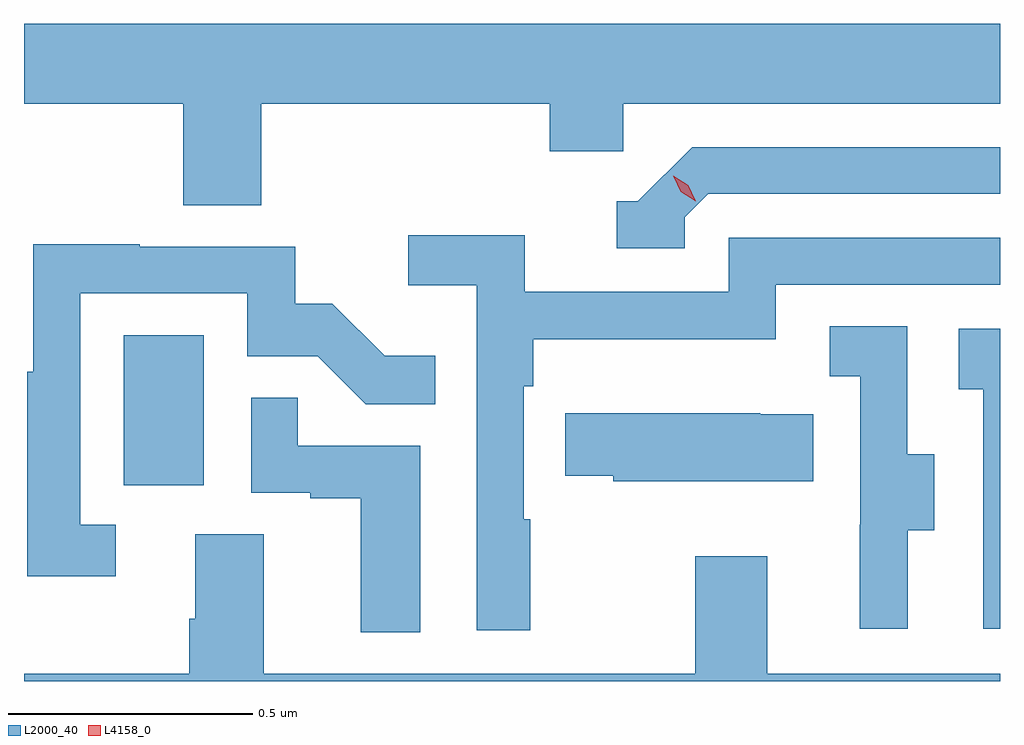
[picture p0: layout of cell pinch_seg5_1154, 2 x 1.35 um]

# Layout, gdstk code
import gdstk
lib = gdstk.Library(unit=1e-6, precision=1e-09)
def R(c, l, rs):  # rectangles x0, y0, x1, y1
    for r in rs: c.add(gdstk.rectangle(r[:2], r[2:], *l))
def P(c, l, *ps):  # polygons
    for p in ps: c.add(gdstk.Polygon(p, *l))
L2000_40 = (2000, 40)
L4158_0 = (4158, 0)

pinch_seg5_1154 = lib.new_cell('pinch_seg5_1154')
R(pinch_seg5_1154, L2000_40, [(816.002,841.326,816.166,841.633)])
P(pinch_seg5_1154, L2000_40, [(816.284,842.108),(816.875,842.108),(816.875,842.01),(817.026,842.01),(817.026,842.108),(817.798,842.108),(817.798,842.272),(815.798,842.272),(815.798,842.108),(816.124,842.108),(816.124,841.9),(816.284,841.9)],
  [(817.152,841.875),(817.2,841.923),(817.798,841.923),(817.798,842.019),(817.167,842.019),(817.056,841.908),(817.013,841.908),(817.013,841.812),(817.152,841.812)],
  [(816.835,841.256),(816.822,841.256),(816.822,841.529),(816.842,841.529),(816.842,841.625),(817.338,841.625),(817.338,841.737),(817.798,841.737),(817.798,841.833),(817.242,841.833),(817.242,841.722),(816.824,841.722),(816.824,841.838),(816.585,841.838),(816.585,841.736),(816.726,841.736),(816.726,841.029),(816.835,841.029)],
  [(815.986,841.245),(815.913,841.245),(815.913,841.719),(816.255,841.719),(816.255,841.59),(816.4,841.59),(816.498,841.492),(816.641,841.492),(816.641,841.591),(816.537,841.591),(816.43,841.698),(816.354,841.698),(816.354,841.815),(816.035,841.815),(816.035,841.82),(815.817,841.82),(815.817,841.559),(815.805,841.559),(815.805,841.14),(815.986,841.14)],
  [(817.609,841.234),(817.663,841.234),(817.663,841.389),(817.608,841.389),(817.608,841.652),(817.449,841.652),(817.449,841.549),(817.512,841.549),(817.512,841.245),(817.511,841.245),(817.511,841.032),(817.609,841.032)],
  [(817.798,841.647),(817.713,841.647),(817.713,841.523),(817.764,841.523),(817.764,841.032),(817.798,841.032)],
  [(816.61,841.407),(816.359,841.407),(816.359,841.505),(816.264,841.505),(816.264,841.311),(816.385,841.311),(816.385,841.299),(816.488,841.299),(816.488,841.025),(816.61,841.025)],
  [(817.415,841.471),(817.307,841.471),(817.307,841.474),(816.907,841.474),(816.907,841.345),(817.005,841.345),(817.005,841.334),(817.415,841.334)],
  [(817.798,840.94),(817.321,840.94),(817.321,841.18),(817.174,841.18),(817.174,840.94),(816.289,840.94),(816.289,841.226),(816.149,841.226),(816.149,841.052),(816.137,841.052),(816.137,840.94),(815.798,840.94),(815.798,840.924),(817.798,840.924)])
P(pinch_seg5_1154, L4158_0, [(817.175,841.908),(817.144,841.927),(817.128,841.96),(817.128,841.96),(817.128,841.96),(817.159,841.941),(817.175,841.908),(817.175,841.908)])

lib.write_gds('pinch_seg5_1154.gds')
